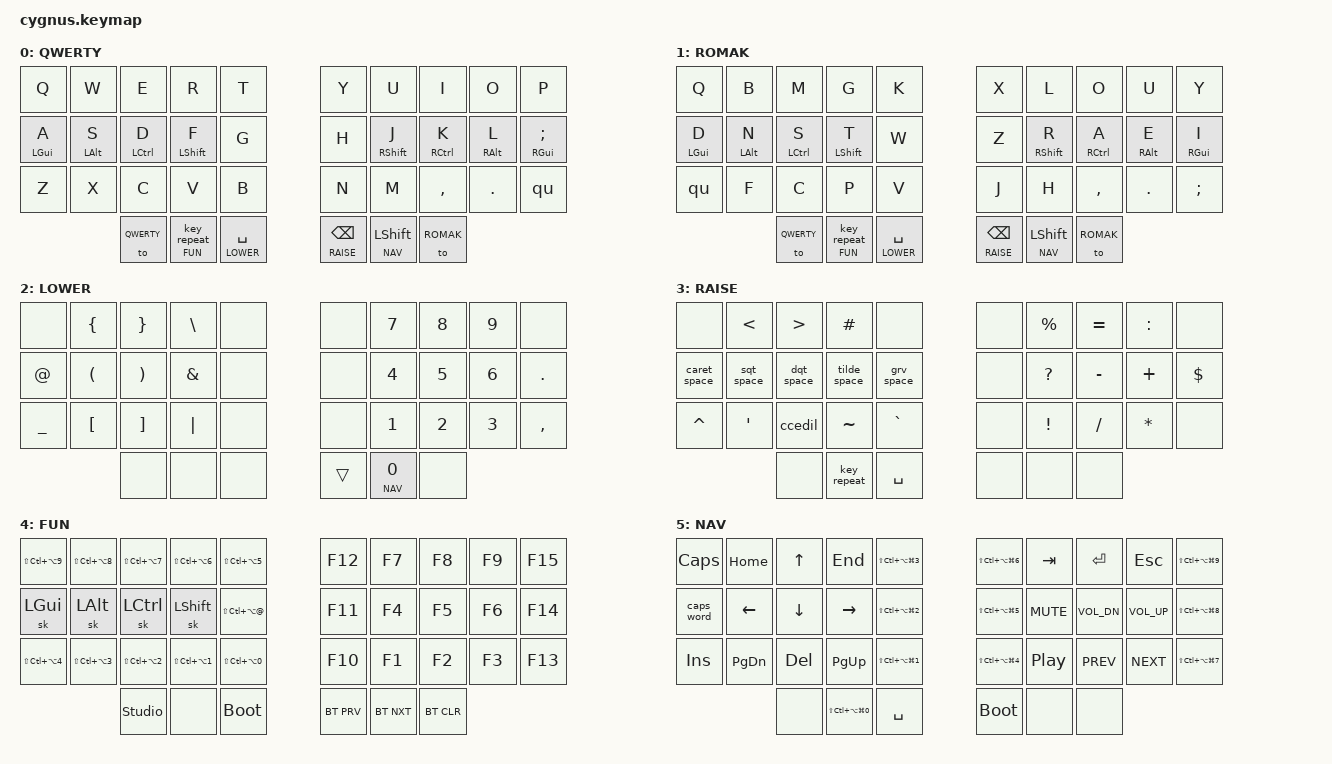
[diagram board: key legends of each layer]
/*
*
* Copyright (c) 2024 Rafael Romão
* SPDX-License-Identifier: MIT
*
*/

#include <behaviors.dtsi>
#include <dt-bindings/zmk/keys.h>
#include <dt-bindings/zmk/bt.h>

#define QWERTY 0
#define ROMAK 1
#define LOWER 2
#define RAISE 3
#define FUN 4
#define NAV 5

/ {
    behaviors {
        hm: homerow_mods {
            compatible = "zmk,behavior-hold-tap";
            #binding-cells = <2>;
            tapping-term-ms = <200>; 
            flavor = "tap-preferred";
            bindings = <&kp>, <&kp>;
        };

        mk: mk {
            compatible = "zmk,behavior-hold-tap";
            #binding-cells = <2>;
            tapping-term-ms = <200>; 
            flavor = "tap-preferred";
            bindings = <&mo>, <&sk>;
        };

        ht_repeat: ht_repeat {
            compatible = "zmk,behavior-hold-tap";
            #binding-cells = <2>;
            tapping-term-ms = <200>; 
            flavor = "tap-preferred";
            bindings = <&mo>, <&key_repeat>;
        };

        sqt_space: sqt_space {
            compatible = "zmk,behavior-macro";
            #binding-cells = <0>;
            bindings = <&macro_tap &kp SQT &kp SPACE>;
        };

        dqt_space: dqt_space {
            compatible = "zmk,behavior-macro";
            #binding-cells = <0>;
            bindings = <&macro_tap &kp DQT &kp SPACE>;
        };

        grv_space: grv_space {
            compatible = "zmk,behavior-macro";
            #binding-cells = <0>;
            bindings = <&macro_tap &kp GRAVE &kp SPACE>;
        };

        tilde_space: tilde_space {
            compatible = "zmk,behavior-macro";
            #binding-cells = <0>;
            bindings = <&macro_tap &kp TILDE &kp SPACE>;
        };

        caret_space: caret_space {
            compatible = "zmk,behavior-macro";
            #binding-cells = <0>;
            bindings = <&macro_tap &kp CARET &kp SPACE>;
        };

        qu: qu {
            compatible = "zmk,behavior-macro";
            #binding-cells = <0>;
            bindings = <&macro_tap &kp Q &kp U>;
        };

        ccedil: ccedil {
            compatible = "zmk,behavior-macro";
            #binding-cells = <0>;
            bindings = <&macro_tap &kp SQT &kp C>;
        };
    };

    keymap {
        compatible = "zmk,keymap";

                qwerty_layer {
                     display-name = "QWERTY";
                     bindings = <
   &kp Q               &kp W               &kp E               &kp R               &kp T               &kp Y               &kp U               &kp I               &kp O               &kp P
   &mt LGUI A          &mt LALT S          &mt LCTRL D         &mt LSHFT F         &kp G               &kp H               &mt RSHFT J         &mt RCTRL K         &mt RALT L          &mt RGUI SEMI
   &kp Z               &kp X               &kp C               &kp V               &kp B               &kp N               &kp M               &kp COMMA           &kp DOT             &qu
                                           &to QWERTY          &ht_repeat FUN 0    &lt LOWER SPACE     &lt RAISE BACKSPACE &mk NAV LSHFT       &to ROMAK
                        >;
                };
                romak_layer {
                     display-name = "ROMAK";
                     bindings = <
   &kp Q               &kp B               &kp M               &kp G               &kp K               &kp X               &kp L               &kp O               &kp U               &kp Y
   &mt LGUI D          &mt LALT N          &mt LCTRL S         &mt LSHFT T         &kp W               &kp Z               &mt RSHFT R         &mt RCTRL A         &mt RALT E          &mt RGUI I
   &qu                 &kp F               &kp C               &kp P               &kp V               &kp J               &kp H               &kp COMMA           &kp DOT             &kp SEMI        
                                           &to QWERTY          &ht_repeat FUN 0    &lt LOWER SPACE     &lt RAISE BACKSPACE &mk NAV LSHFT       &to ROMAK
                        >;
                };
                lower_layer {
                     display-name = "LOWER";
                     bindings = <
   &none               &kp LBRC            &kp RBRC            &kp BSLH            &none               &none               &kp N7              &kp N8              &kp N9              &none
   &kp AT              &kp LPAR            &kp RPAR            &kp AMPS            &none               &none               &kp N4              &kp N5              &kp N6              &kp DOT  
   &kp UNDERSCORE      &kp LBKT            &kp RBKT            &kp PIPE            &none               &none               &kp N1              &kp N2              &kp N3              &kp COMMA
                                           &none               &none               &none               &trans              &lt NAV N0          &none 
                           >;
                };
                raise_layer {
                    display-name = "RAISE";
                    bindings = <
   &none               &kp LT              &kp GT              &kp HASH            &none               &none               &kp PERCENT         &kp EQUAL         &kp COLON             &none
   &caret_space        &sqt_space          &dqt_space          &tilde_space        &grv_space          &none               &kp QUESTION        &kp MINUS         &kp PLUS              &kp DOLLAR
   &kp CARET           &kp SQT             &ccedil             &kp TILDE           &kp GRAVE           &none               &kp EXCL            &kp SLASH         &kp STAR              &none          
                                           &none               &key_repeat         &kp SPACE           &none               &none               &none        
                          >;
               };
                functions_layer {
                     display-name = "FUN";
                     bindings = <
   &kp LS(LC(LA(N9)))  &kp LS(LC(LA(N8)))  &kp LS(LC(LA(N7)))  &kp LS(LC(LA(N6)))  &kp LS(LC(LA(N5)))  &kp F12             &kp F7              &kp F8              &kp F9              &kp F15 
   &sk LGUI            &sk LALT            &sk LCTRL           &sk LSHFT           &kp LS(LC(LA(AT)))  &kp F11             &kp F4              &kp F5              &kp F6              &kp F14      
   &kp LS(LC(LA(N4)))  &kp LS(LC(LA(N3)))  &kp LS(LC(LA(N2)))  &kp LS(LC(LA(N1)))  &kp LS(LC(LA(N0)))  &kp F10             &kp F1              &kp F2              &kp F3              &kp F13
                                           &studio_unlock      &none               &bootloader         &bt BT_PRV          &bt BT_NXT          &bt BT_CLR
                        >;
                };
                navigation_layer {
                    display-name = "NAV";
                    bindings = <
   &kp CAPSLOCK        &kp HOME            &kp UP              &kp END             &kp LS(LC(LA(LG(N3)))) &kp LS(LC(LA(LG(N6)))) &kp TAB             &kp ENTER           &kp ESC             &kp LS(LC(LA(LG(N9)))) 
   &caps_word          &kp LEFT            &kp DOWN            &kp RIGHT           &kp LS(LC(LA(LG(N2)))) &kp LS(LC(LA(LG(N5)))) &kp C_MUTE          &kp C_VOL_DN        &kp C_VOL_UP        &kp LS(LC(LA(LG(N8)))) 
   &kp INS             &kp PG_DN           &kp DEL             &kp PG_UP           &kp LS(LC(LA(LG(N1)))) &kp LS(LC(LA(LG(N4)))) &kp C_PP            &kp C_PREV          &kp C_NEXT          &kp LS(LC(LA(LG(N7)))) 
                                           &none               &kp LS(LC(LA(LG(N0)))) &kp SPACE           &bootloader            &none               &none
                           >;
                };
        
                layer6 {
                    status = "reserved";
                };

                layer7 {
                    status = "reserved";
                };

                layer8 {
                    status = "reserved";
                };

                layer9 {
                    status = "reserved";
                };

                layer10 {
                    status = "reserved";
                };
    };
};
